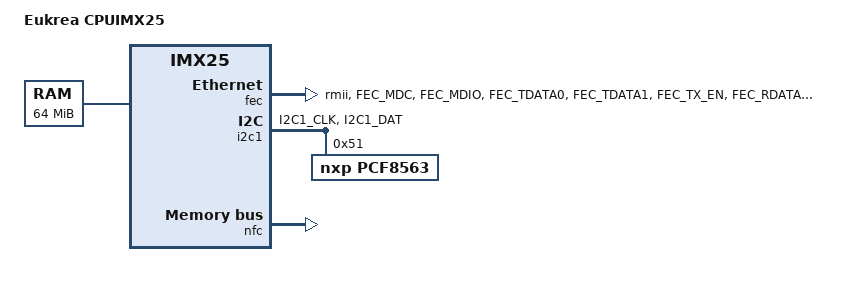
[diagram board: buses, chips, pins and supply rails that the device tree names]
/*
 * Copyright 2013 Eukréa Electromatique <denis@eukrea.com>
 *
 * This program is free software; you can redistribute it and/or
 * modify it under the terms of the GNU General Public License
 * as published by the Free Software Foundation; either version 2
 * of the License, or (at your option) any later version.
 * This program is distributed in the hope that it will be useful,
 * but WITHOUT ANY WARRANTY; without even the implied warranty of
 * MERCHANTABILITY or FITNESS FOR A PARTICULAR PURPOSE.  See the
 * GNU General Public License for more details.
 */

#include "imx25.dtsi"

/ {
	model = "Eukrea CPUIMX25";
	compatible = "eukrea,cpuimx25", "fsl,imx25";

	memory@80000000 {
		device_type = "memory";
		reg = <0x80000000 0x4000000>; /* 64M */
	};
};

&fec {
	phy-mode = "rmii";
	pinctrl-names = "default";
	pinctrl-0 = <&pinctrl_fec>;
	status = "okay";
};

&i2c1 {
	pinctrl-names = "default";
	pinctrl-0 = <&pinctrl_i2c1>;
	status = "okay";

	pcf8563@51 {
		compatible = "nxp,pcf8563";
		reg = <0x51>;
	};
};

&iomuxc {
	imx25-eukrea-cpuimx25 {
		pinctrl_fec: fecgrp {
			fsl,pins = <
				MX25_PAD_FEC_MDC__FEC_MDC		0x80000000
				MX25_PAD_FEC_MDIO__FEC_MDIO		0x400001e0
				MX25_PAD_FEC_TDATA0__FEC_TDATA0		0x80000000
				MX25_PAD_FEC_TDATA1__FEC_TDATA1		0x80000000
				MX25_PAD_FEC_TX_EN__FEC_TX_EN		0x80000000
				MX25_PAD_FEC_RDATA0__FEC_RDATA0		0x80000000
				MX25_PAD_FEC_RDATA1__FEC_RDATA1		0x80000000
				MX25_PAD_FEC_RX_DV__FEC_RX_DV		0x80000000
				MX25_PAD_FEC_TX_CLK__FEC_TX_CLK		0x1c0
			>;
		};

		pinctrl_i2c1: i2c1grp {
			fsl,pins = <
				MX25_PAD_I2C1_CLK__I2C1_CLK		0x80000000
				MX25_PAD_I2C1_DAT__I2C1_DAT		0x80000000
			>;
		};
	};
};

&nfc {
	nand-bus-width = <8>;
	nand-ecc-mode = "hw";
	nand-on-flash-bbt;
	status = "okay";
};
